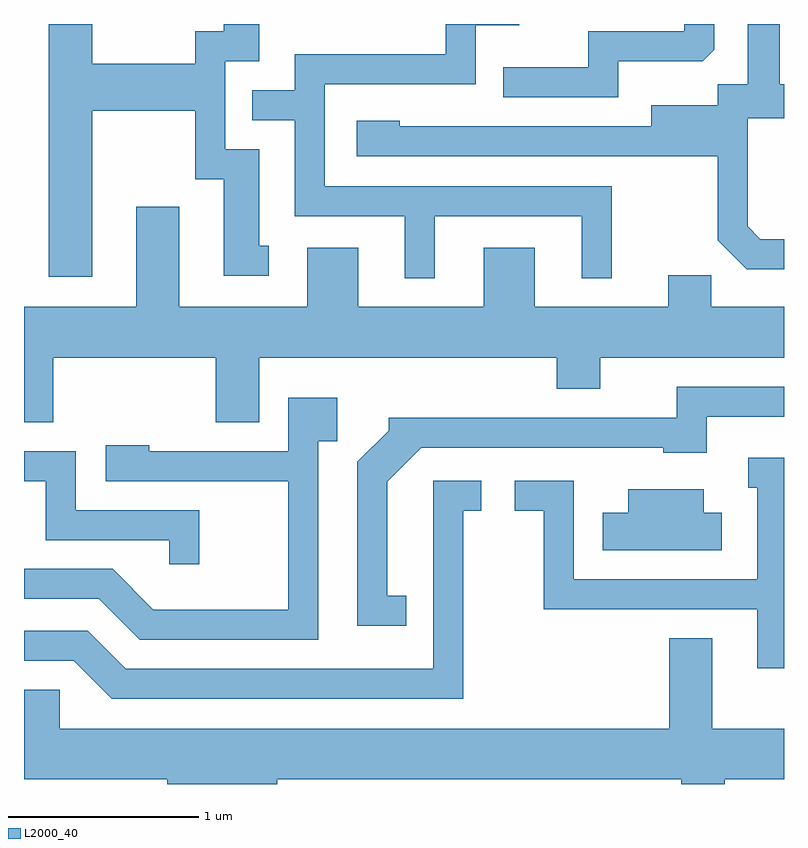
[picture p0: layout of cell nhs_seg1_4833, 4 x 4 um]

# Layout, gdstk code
import gdstk
lib = gdstk.Library(unit=1e-6, precision=1e-09)
def P(c, l, *ps):  # polygons
    for p in ps: c.add(gdstk.Polygon(p, *l))
L2000_40 = (2000, 40)

nhs_seg1_4833 = lib.new_cell('nhs_seg1_4833')
P(nhs_seg1_4833, L2000_40, [(331.774,964.701),(332.546,964.701),(332.546,964.373),(332.704,964.373),(332.704,964.859),(331.194,964.859),(331.194,965.396),(331.989,965.396),(331.989,965.706),(332.218,965.706),(332.218,965.712),(331.831,965.712),(331.831,965.554),(331.036,965.554),(331.036,965.364),(330.813,965.364),(330.813,965.206),(331.036,965.206),(331.036,964.701),(331.616,964.701),(331.616,964.373),(331.774,964.373)],
  [(329.969,965.256),(330.511,965.256),(330.511,964.896),(330.661,964.896),(330.661,964.386),(330.898,964.386),(330.898,964.544),(330.849,964.544),(330.849,965.054),(330.669,965.054),(330.669,965.516),(330.849,965.516),(330.849,965.712),(330.661,965.712),(330.661,965.674),(330.511,965.674),(330.511,965.504),(329.969,965.504),(329.969,965.712),(329.741,965.712),(329.741,964.381),(329.969,964.381)],
  [(333.611,964.579),(333.487,964.579),(333.419,964.647),(333.419,965.216),(333.611,965.216),(333.611,965.394),(333.589,965.394),(333.589,965.712),(333.421,965.712),(333.421,965.394),(333.261,965.394),(333.261,965.284),(332.911,965.284),(332.911,965.174),(331.589,965.174),(331.589,965.204),(331.361,965.204),(331.361,965.016),(333.261,965.016),(333.261,964.574),(333.414,964.421),(333.611,964.421)],
  [(332.739,965.516),(333.184,965.516),(333.244,965.577),(333.244,965.712),(333.086,965.712),(333.086,965.674),(332.581,965.674),(332.581,965.484),(332.133,965.484),(332.133,965.326),(332.739,965.326)],
  [(332.299,964.534),(332.031,964.534),(332.031,964.224),(331.369,964.224),(331.369,964.534),(331.101,964.534),(331.101,964.224),(330.429,964.224),(330.429,964.749),(330.201,964.749),(330.201,964.224),(329.611,964.224),(329.611,963.616),(329.764,963.616),(329.764,963.956),(330.621,963.956),(330.621,963.616),(330.849,963.616),(330.849,963.956),(332.416,963.956),(332.416,963.791),(332.644,963.791),(332.644,963.956),(333.611,963.956),(333.611,964.224),(333.229,964.224),(333.229,964.389),(333.001,964.389),(333.001,964.224),(332.299,964.224)],
  [(331.623,962.704),(331.524,962.704),(331.524,963.304),(331.702,963.481),(332.976,963.481),(332.976,963.456),(333.204,963.456),(333.204,963.646),(333.611,963.646),(333.611,963.804),(333.046,963.804),(333.046,963.639),(331.531,963.639),(331.531,963.572),(331.366,963.407),(331.366,962.546),(331.623,962.546)],
  [(331.159,963.516),(331.259,963.516),(331.259,963.744),(331.001,963.744),(331.001,963.464),(330.269,963.464),(330.269,963.494),(330.041,963.494),(330.041,963.306),(331.001,963.306),(331.001,962.629),(330.292,962.629),(330.077,962.844),(329.611,962.844),(329.611,962.686),(330.004,962.686),(330.219,962.471),(331.159,962.471)],
  [(330.534,963.154),(329.884,963.154),(329.884,963.464),(329.611,963.464),(329.611,963.306),(329.726,963.306),(329.726,962.996),(330.376,962.996),(330.376,962.868),(330.534,962.868)],
  [(333.611,963.429),(333.423,963.429),(333.423,963.271),(333.471,963.271),(333.471,962.789),(332.504,962.789),(332.504,963.309),(332.193,963.309),(332.193,963.151),(332.346,963.151),(332.346,962.631),(333.471,962.631),(333.471,962.321),(333.611,962.321)],
  [(331.924,963.151),(332.018,963.151),(332.018,963.309),(331.766,963.309),(331.766,962.319),(330.147,962.319),(329.947,962.519),(329.611,962.519),(329.611,962.361),(329.874,962.361),(330.074,962.161),(331.924,962.161)],
  [(333.284,963.139),(333.189,963.139),(333.189,963.264),(332.791,963.264),(332.791,963.139),(332.656,963.139),(332.656,962.941),(333.284,962.941)],
  [(330.944,961.736),(333.071,961.736),(333.071,961.712),(333.299,961.712),(333.299,961.736),(333.611,961.736),(333.611,962.004),(333.234,962.004),(333.234,962.479),(333.006,962.479),(333.006,962.004),(329.799,962.004),(329.799,962.209),(329.611,962.209),(329.611,961.736),(330.366,961.736),(330.366,961.712),(330.944,961.712)])

lib.write_gds('nhs_seg1_4833.gds')
